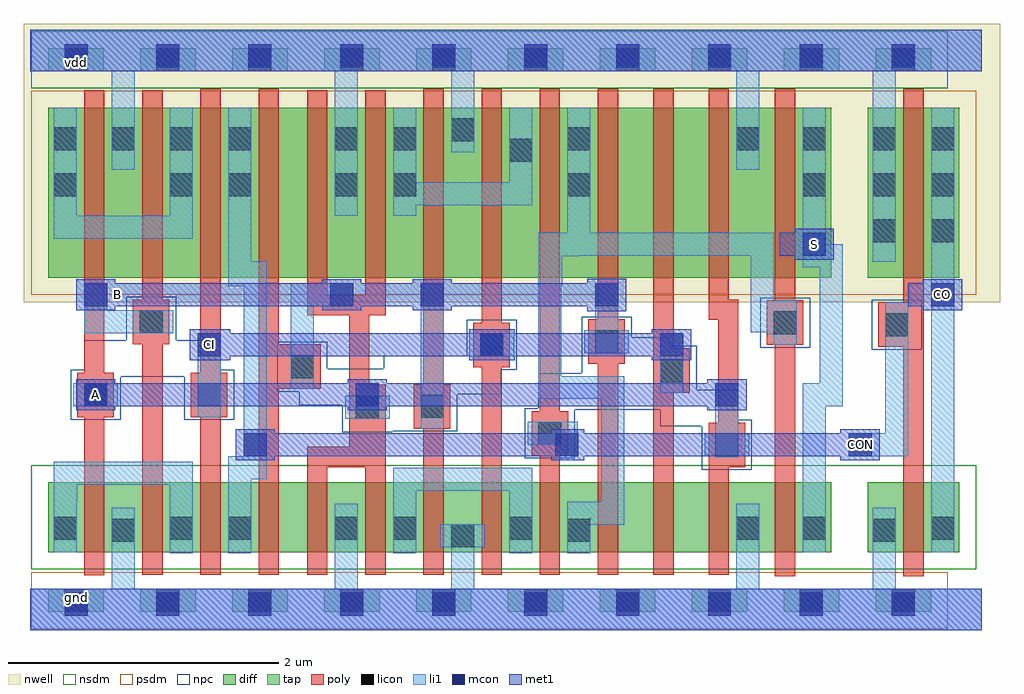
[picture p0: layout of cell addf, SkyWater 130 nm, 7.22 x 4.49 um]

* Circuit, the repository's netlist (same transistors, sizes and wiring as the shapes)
* NGSPICE file created from addf.ext - technology: sky130A

.subckt addf A S CO
X0 a_952_521# CI a_870_521# vdd sky130_fd_pr__pfet_01v8 ad=0.164 pd=1.52 as=0.164 ps=1.52 w=1.26 l=0.15
X1 S a_784_115# vdd vdd sky130_fd_pr__pfet_01v8 ad=0.334 pd=3.05 as=0.214 ps=1.6 w=1.26 l=0.15
X2 a_526_115# CI gnd gnd sky130_fd_pr__nfet_01v8 ad=0.0728 pd=0.8 as=0.0728 ps=0.8 w=0.52 l=0.15
X3 a_27_521# B vdd vdd sky130_fd_pr__pfet_01v8 ad=0.176 pd=1.54 as=0.176 ps=1.54 w=1.26 l=0.15
X4 a_952_115# CI a_870_115# gnd sky130_fd_pr__nfet_01v8 ad=0.0676 pd=0.78 as=0.0676 ps=0.78 w=0.52 l=0.15
X5 S a_784_115# gnd gnd sky130_fd_pr__nfet_01v8 ad=0.138 pd=1.57 as=0.0884 ps=0.86 w=0.52 l=0.15
X6 vdd A a_27_521# vdd sky130_fd_pr__pfet_01v8 ad=0.176 pd=1.54 as=0.334 ps=3.05 w=1.26 l=0.15
X7 a_784_115# CON a_526_521# vdd sky130_fd_pr__pfet_01v8 ad=0.176 pd=1.54 as=0.176 ps=1.54 w=1.26 l=0.15
X8 a_27_115# B gnd gnd sky130_fd_pr__nfet_01v8 ad=0.0728 pd=0.8 as=0.0728 ps=0.8 w=0.52 l=0.15
X9 gnd A a_27_115# gnd sky130_fd_pr__nfet_01v8 ad=0.0728 pd=0.8 as=0.138 ps=1.57 w=0.52 l=0.15
X10 a_784_115# CON a_526_115# gnd sky130_fd_pr__nfet_01v8 ad=0.0728 pd=0.8 as=0.0728 ps=0.8 w=0.52 l=0.15
X11 CON CI a_27_521# vdd sky130_fd_pr__pfet_01v8 ad=0.176 pd=1.54 as=0.176 ps=1.54 w=1.26 l=0.15
X12 vdd A a_368_521# vdd sky130_fd_pr__pfet_01v8 ad=0.176 pd=1.54 as=0.132 ps=1.47 w=1.26 l=0.15
X13 a_526_521# A vdd vdd sky130_fd_pr__pfet_01v8 ad=0.176 pd=1.54 as=0.176 ps=1.54 w=1.26 l=0.15
X14 CO CON vdd vdd sky130_fd_pr__pfet_01v8 ad=0.334 pd=3.05 as=0.334 ps=3.05 w=1.26 l=0.15
X15 CON CI a_27_115# gnd sky130_fd_pr__nfet_01v8 ad=0.0728 pd=0.8 as=0.0728 ps=0.8 w=0.52 l=0.15
X16 a_870_521# B a_784_115# vdd sky130_fd_pr__pfet_01v8 ad=0.164 pd=1.52 as=0.176 ps=1.54 w=1.26 l=0.15
X17 gnd A a_368_115# gnd sky130_fd_pr__nfet_01v8 ad=0.0728 pd=0.8 as=0.0546 ps=0.73 w=0.52 l=0.15
X18 a_526_115# A gnd gnd sky130_fd_pr__nfet_01v8 ad=0.0728 pd=0.8 as=0.0728 ps=0.8 w=0.52 l=0.15
X19 CO CON gnd gnd sky130_fd_pr__nfet_01v8 ad=0.138 pd=1.57 as=0.138 ps=1.57 w=0.52 l=0.15
X20 a_870_115# B a_784_115# gnd sky130_fd_pr__nfet_01v8 ad=0.0676 pd=0.78 as=0.0728 ps=0.8 w=0.52 l=0.15
X21 a_368_521# B CON vdd sky130_fd_pr__pfet_01v8 ad=0.132 pd=1.47 as=0.176 ps=1.54 w=1.26 l=0.15
X22 vdd B a_526_521# vdd sky130_fd_pr__pfet_01v8 ad=0.176 pd=1.54 as=0.176 ps=1.54 w=1.26 l=0.15
X23 vdd A a_952_521# vdd sky130_fd_pr__pfet_01v8 ad=0.214 pd=1.6 as=0.164 ps=1.52 w=1.26 l=0.15
X24 a_368_115# B CON gnd sky130_fd_pr__nfet_01v8 ad=0.0546 pd=0.73 as=0.0728 ps=0.8 w=0.52 l=0.15
X25 gnd B a_526_115# gnd sky130_fd_pr__nfet_01v8 ad=0.0728 pd=0.8 as=0.0728 ps=0.8 w=0.52 l=0.15
X26 gnd A a_952_115# gnd sky130_fd_pr__nfet_01v8 ad=0.0884 pd=0.86 as=0.0676 ps=0.78 w=0.52 l=0.15
X27 a_526_521# CI vdd vdd sky130_fd_pr__pfet_01v8 ad=0.176 pd=1.54 as=0.176 ps=1.54 w=1.26 l=0.15
.ends

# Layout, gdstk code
import gdstk
lib = gdstk.Library(unit=1e-6, precision=1e-09)
def R(c, l, rs):  # rectangles x0, y0, x1, y1
    for r in rs: c.add(gdstk.rectangle(r[:2], r[2:], *l))
def A(c, l, x, y, w, h, nx, ny, dx, dy):  # array of equal rectangles
    R(c, l, [(x+i*dx, y+j*dy, x+i*dx+w, y+j*dy+h) for i in range(nx) for j in range(ny)])
nwell = (64, 20)
diff = (65, 20)
tap = (65, 44)
poly = (66, 20)
licon = (66, 44)
li1 = (67, 20)
mcon = (67, 44)
met1 = (68, 20)
nsdm = (93, 44)
psdm = (94, 20)
npc = (95, 20)

addf = lib.new_cell('addf')
R(addf, nwell, [(-0.045,2.425,7.175,4.485)])
R(addf, diff, [(0.135,0.575,5.925,1.095), (6.195,0.575,6.875,1.095), (0.135,2.605,5.925,3.865), (6.195,2.605,6.875,3.865)])
A(addf, tap, 0.135, 0.135, 0.41, 0.17, 10, 2, 0.68, 4)
R(addf, poly, [(5.51,0.4,5.66,2.11), (6.46,0.4,6.61,2.095), (0.4,0.405,0.55,1.575), (0.83,0.41,0.98,2.115), (1.26,0.41,1.41,1.575), (1.69,0.41,1.84,1.785), (2.05,0.41,2.2,1.205), (2.48,0.41,2.63,1.205), (2.91,0.41,3.06,1.49), (3.34,0.41,3.49,1.945), (3.77,0.41,3.92,1.29), (4.2,0.41,4.35,1.97), (4.61,0.41,4.76,1.755), (5.02,0.41,5.17,1.205), (2.05,1.205,2.63,1.355), (5.02,1.205,5.29,1.535), (3.71,1.29,3.98,1.62), (2.36,1.355,2.63,1.815), (2.84,1.49,3.11,1.82), (5.09,1.535,5.24,2.295), (0.35,1.575,0.62,1.905), (1.19,1.575,1.46,1.905), (3.77,1.62,3.92,4.005), (4.61,1.755,4.88,2.085), (1.69,1.785,2.15,2.115), (2.36,1.815,2.51,2.33), (2.91,1.82,3.06,4.005), (0.4,1.905,0.55,3.995), (1.26,1.905,1.41,4.005), (3.28,1.945,3.55,2.275), (4.13,1.97,4.4,2.3), (4.61,2.085,4.76,4.005), (6.275,2.095,6.61,2.425), (5.45,2.11,5.72,2.44), (0.76,2.115,1.03,2.445), (1.69,2.115,1.84,4.005), (3.34,2.275,3.49,4.005), (5.02,2.295,5.24,2.445), (4.2,2.3,4.35,4.005), (2.05,2.33,2.63,2.48), (6.46,2.425,6.61,4.005), (5.51,2.44,5.66,4.005), (0.83,2.445,0.98,3.995), (5.02,2.445,5.17,4.005), (2.05,2.48,2.2,3.995), (2.48,2.48,2.63,3.995)])
A(addf, licon, 0.255, 0.135, 0.17, 0.17, 10, 2, 0.68, 4)
A(addf, licon, 6.235, 2.87, 0.17, 0.17, 1, 3, 0, 0.34)
A(addf, licon, 6.665, 2.87, 0.17, 0.17, 1, 3, 0, 0.34)
A(addf, licon, 0.175, 3.55, 0.17, 0.17, 4, 1, 0.43, 0)
R(addf, licon, [(3.115,0.615,3.285,0.785), (0.605,0.655,0.775,0.825), (3.975,0.655,4.145,0.825), (6.235,0.655,6.405,0.825), (0.175,0.67,0.345,0.84), (1.035,0.67,1.205,0.84), (1.465,0.67,1.635,0.84), (2.255,0.67,2.425,0.84), (2.685,0.67,2.855,0.84), (3.545,0.67,3.715,0.84), (5.225,0.67,5.395,0.84), (5.715,0.67,5.885,0.84), (6.665,0.67,6.835,0.84), (5.07,1.285,5.24,1.455), (3.76,1.37,3.93,1.54), (2.41,1.565,2.58,1.735), (2.89,1.57,3.06,1.74), (0.4,1.655,0.57,1.825), (1.24,1.655,1.41,1.825), (4.66,1.835,4.83,2.005), (1.93,1.865,2.1,2.035), (3.33,2.025,3.5,2.195), (4.18,2.05,4.35,2.22), (6.325,2.175,6.495,2.345), (5.5,2.19,5.67,2.36), (0.81,2.195,0.98,2.365), (0.175,3.21,0.345,3.38), (1.035,3.21,1.205,3.38), (1.465,3.21,1.635,3.38), (2.255,3.21,2.425,3.38), (2.685,3.21,2.855,3.38), (3.975,3.21,4.145,3.38), (5.715,3.21,5.885,3.38), (3.545,3.465,3.715,3.635), (2.255,3.55,2.425,3.72), (2.685,3.55,2.855,3.72), (3.975,3.55,4.145,3.72), (5.225,3.55,5.395,3.72), (5.715,3.55,5.885,3.72), (3.115,3.615,3.285,3.785)])
R(addf, li1, [(0,0,7.04,0.305), (0.605,0.305,0.775,0.905), (2.255,0.305,2.425,0.935), (3.115,0.305,3.285,0.615), (5.225,0.305,5.395,0.935), (6.235,0.305,6.405,0.905), (1.035,0.57,1.205,1.075), (1.465,0.57,1.635,1.115), (2.685,0.57,2.855,1.03), (3.545,0.57,3.715,1.03), (3.975,0.57,4.145,0.78), (0.175,0.575,0.345,0.945), (5.715,0.575,5.885,1.655), (6.665,0.575,6.835,3.865), (3.035,0.615,3.365,0.785), (3.975,0.78,4.395,0.95), (0.175,0.945,0.35,1.075), (4.225,0.95,4.395,1.71), (2.685,1.03,3.715,1.2), (0.175,1.075,1.205,1.245), (1.465,1.115,1.75,1.285), (5.07,1.28,5.24,1.285), (1.58,1.285,1.75,2.545), (3.885,1.285,4.055,1.37), (4.99,1.285,5.32,1.455), (6.055,1.285,6.495,1.455), (3.68,1.37,4.055,1.455), (3.68,1.455,4.05,1.54), (5.07,1.455,5.24,1.825), (6.325,1.455,6.495,2.425), (2.89,1.49,3.06,2.565), (2.33,1.565,2.66,1.735), (1.24,1.575,1.41,2.195), (0.32,1.655,0.65,1.825), (5.715,1.655,6.01,1.825), (3.76,1.71,4.395,1.88), (2.41,1.735,2.58,1.825), (4.66,1.755,4.83,2.195), (1.93,1.785,2.1,2.395), (5.84,1.825,6.01,2.685), (3.76,1.88,3.93,2.55), (3.25,2.025,3.58,2.195), (4.1,2.05,4.43,2.22), (5.5,2.11,5.67,2.19), (5.445,2.19,5.67,2.205), (0.4,2.195,1.06,2.365), (5.33,2.205,5.67,2.44), (4.18,2.22,4.35,2.565), (0.4,2.365,0.57,2.565), (1.93,2.395,2.39,2.565), (5.33,2.44,5.5,2.77), (1.465,2.545,1.75,2.73), (3.76,2.55,3.935,2.765), (5.715,2.685,6.01,2.855), (6.235,2.725,6.405,4.135), (1.465,2.73,1.635,3.865), (3.76,2.765,4.06,2.77), (3.76,2.77,5.5,2.94), (5.715,2.855,5.885,3.865), (0.175,2.895,1.205,3.065), (3.975,2.94,4.145,3.865), (0.175,3.065,0.345,3.865), (1.035,3.065,1.205,3.865), (2.255,3.065,2.425,4.135), (2.685,3.065,2.855,3.145), (2.685,3.145,3.715,3.315), (2.685,3.315,2.855,3.865), (3.545,3.315,3.715,3.865), (0.605,3.405,0.775,4.135), (5.225,3.405,5.395,4.135), (3.115,3.535,3.285,4.135), (0,4.135,7.04,4.44)])
A(addf, mcon, 0.255, 0.105, 0.17, 0.17, 10, 2, 0.68, 4.06)
R(addf, mcon, [(1.58,1.285,1.75,1.455), (3.885,1.285,4.055,1.455), (6.055,1.285,6.225,1.455), (0.4,1.655,0.57,1.825), (2.41,1.655,2.58,1.825), (5.07,1.655,5.24,1.825), (1.24,2.025,1.41,2.195), (3.33,2.025,3.5,2.195), (4.66,2.025,4.83,2.195), (0.4,2.395,0.57,2.565), (2.22,2.395,2.39,2.565), (2.89,2.395,3.06,2.565), (4.18,2.395,4.35,2.565), (6.665,2.395,6.835,2.565), (5.715,2.77,5.885,2.94)])
R(addf, met1, [(0,0,7.04,0.305), (1.52,1.255,1.81,1.285), (3.855,1.255,4.1,1.285), (5.995,1.255,6.285,1.285), (1.52,1.285,6.285,1.455), (1.52,1.455,1.81,1.485), (3.855,1.455,4.1,1.485), (5.995,1.455,6.285,1.485), (0.34,1.625,0.63,1.655), (2.35,1.625,2.64,1.655), (5.01,1.625,5.3,1.655), (0.34,1.655,5.3,1.825), (0.34,1.825,0.63,1.855), (2.35,1.825,2.64,1.855), (5.01,1.825,5.3,1.855), (1.18,1.995,1.48,2.025), (3.25,1.995,3.585,2.025), (4.6,1.995,4.89,2.025), (1.18,2.025,4.89,2.195), (1.18,2.195,1.48,2.225), (3.25,2.195,3.585,2.225), (4.6,2.195,4.89,2.225), (4.12,2.36,4.41,2.395), (0.34,2.365,0.63,2.395), (2.16,2.365,2.45,2.395), (2.83,2.365,3.12,2.395), (6.605,2.365,6.895,2.395), (0.34,2.395,4.41,2.565), (6.495,2.395,6.895,2.565), (0.34,2.565,0.63,2.595), (2.16,2.565,2.45,2.595), (2.83,2.565,3.12,2.595), (4.12,2.565,4.41,2.6), (6.605,2.565,6.895,2.595), (5.655,2.74,5.945,2.77), (5.545,2.77,5.945,2.94), (5.655,2.94,5.945,2.97), (0,4.135,7.04,4.44)])
R(addf, nsdm, [(0.01,0.45,7,1.22), (0.01,4.01,6.79,4.43)])
R(addf, psdm, [(0.01,0.01,6.79,0.43), (0.01,2.48,7,3.99)])
R(addf, npc, [(4.97,1.185,5.34,1.51), (3.66,1.27,4.03,1.63), (2.31,1.465,2.68,1.47), (2.31,1.47,3.16,1.665), (4.66,1.51,5.34,1.555), (0.3,1.555,0.67,1.875), (1.14,1.555,1.51,1.875), (4.66,1.555,5.24,1.63), (3.66,1.63,5.24,1.64), (3.76,1.64,5.24,1.78), (1.99,1.665,3.16,1.745), (1.99,1.745,3.485,1.765), (1.83,1.765,3.485,1.925), (3.76,1.78,4.93,1.9), (0.3,1.875,1.51,1.925), (4.08,1.9,4.93,2.105), (0.4,1.925,1.41,2.145), (1.83,1.925,3.6,1.935), (1.83,1.935,2.2,2.135), (2.615,1.935,3.6,2.03), (3.23,2.03,3.6,2.295), (6.225,2.075,6.595,2.445), (5.4,2.09,5.77,2.46), (4.08,2.105,4.73,2.165), (0.71,2.145,1.08,2.465), (4.08,2.165,4.45,2.32)])
addf.add(gdstk.Label('B', (0.645,2.48), layer=68, texttype=5))
addf.add(gdstk.Label('CI', (1.325,2.11), layer=68, texttype=5))
addf.add(gdstk.Label('CON', (6.14,1.37), layer=68, texttype=5))
addf.add(gdstk.Label('gnd', (0.34,0.24), layer=68, texttype=5))
addf.add(gdstk.Label('vdd', (0.34,4.2), layer=68, texttype=5))
addf.add(gdstk.Label('A', (0.485,1.74), layer=68, texttype=5))
addf.add(gdstk.Label('S', (5.8,2.855), layer=68, texttype=5))
addf.add(gdstk.Label('CO', (6.75,2.48), layer=68, texttype=5))

lib.write_gds('addf.gds')
